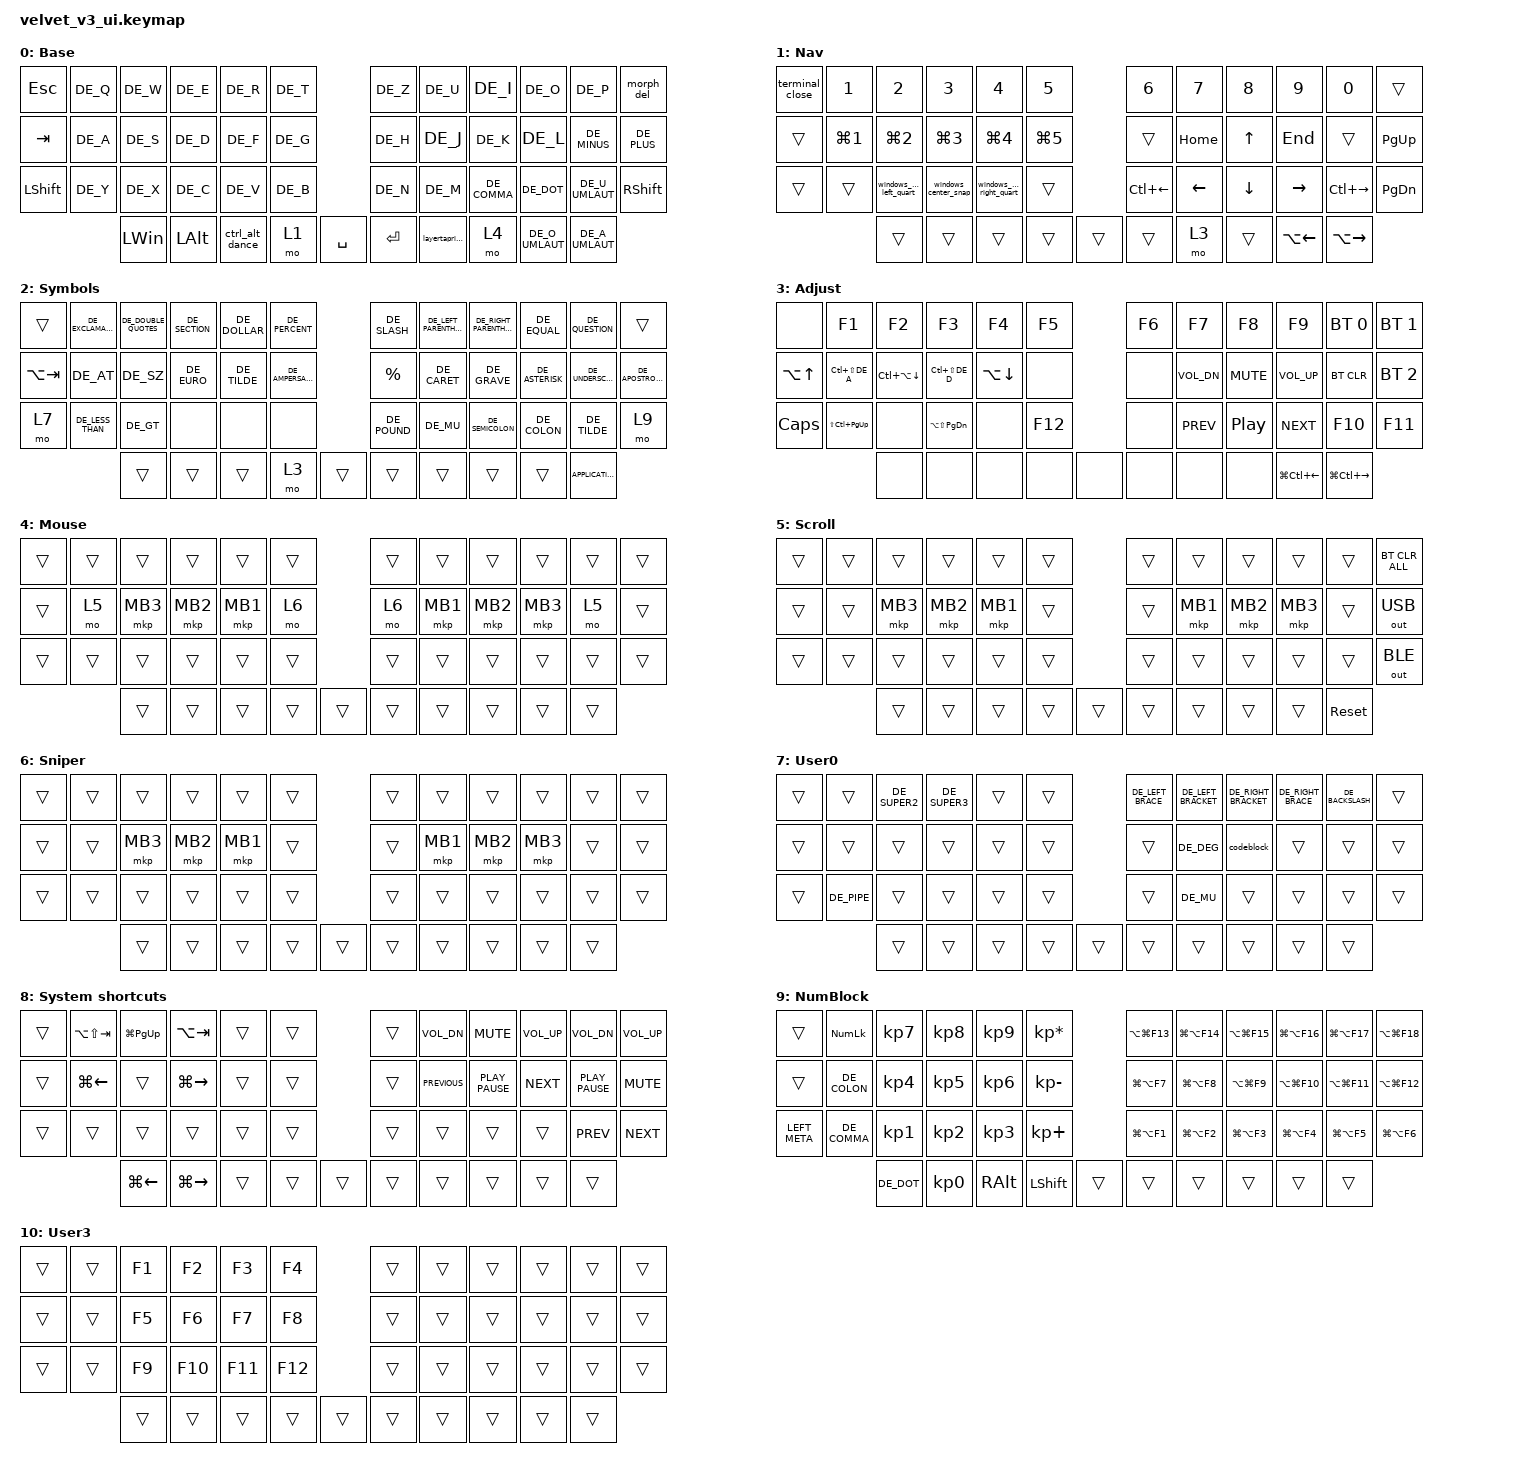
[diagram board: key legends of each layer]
#include <dt-bindings/zmk/input_transform.h>
#include <input/processors.dtsi>
#include <zephyr/dt-bindings/input/input-event-codes.h>
#include <behaviors.dtsi>
#include <dt-bindings/zmk/bt.h>
#include <dt-bindings/zmk/keys.h>
#include <dt-bindings/zmk/outputs.h>
#include <dt-bindings/zmk/pointing.h>
#include "keys_de.h"

/ {
    behaviors {
        cap_sen: cap_sen {
            compatible = "zmk,behavior-hold-tap";
            label = "CAP_SEN";
            bindings = <&mo>, <&mkp>;

            #binding-cells = <2>;
            tapping-term-ms = <150>;
            hold-while-undecided;
        };

        mouse_layer: mouse_layer {
            compatible = "zmk,behavior-sticky-key";
            label = "MOUSE_LAYER";
            bindings = <&mo>;
            #binding-cells = <1>;
            release-after-ms = <200>;
        };

        zip_auto_mouse: zip_auto_mouse {
            compatible = "zmk,input-processor-temp-layer";
            #input-processor-cells = <2>;
            require-prior-idle-ms = <800>;
            excluded-positions = <>;
        };

        layertapright: layertapright {
            compatible = "zmk,behavior-tap-dance";
            label = "LAYERTAPRIGHT";
            #binding-cells = <0>;
            bindings = <&mo 2>, <&mo 8>, <&mo 10>;
        };

        codeblock_dance: codeblock_dance {
            compatible = "zmk,behavior-tap-dance";
            label = "CODEBLOCK_DANCE";
            #binding-cells = <0>;
            bindings = <&kp DE_GRAVE>, <&codeblock_dance>;
        };

        hold_alt: hold_alt {
            compatible = "zmk,behavior-hold-tap";
            label = "HOLD_ALT";
            bindings = <&kp>, <&kp>;

            #binding-cells = <2>;
            tapping-term-ms = <200>;
            flavor = "tap-preferred";
        };

        morph_del: morph_del {
            compatible = "zmk,behavior-mod-morph";
            label = "MORPH_DEL";
            bindings = <&kp BACKSPACE>, <&kp DELETE>;

            #binding-cells = <0>;
            mods = <(MOD_LSFT)>;
        };

        ctrl_alt_dance: ctrl_alt_dance {
            compatible = "zmk,behavior-tap-dance";
            label = "CTRL_ALT_DANCE";
            #binding-cells = <0>;
            bindings = <&kp LEFT_CONTROL>, <&kp LEFT_ALT>;
        };

        terminal_close: terminal_close {
            compatible = "zmk,behavior-mod-morph";
            label = "TERMINAL_CLOSE";
            bindings = <&kp LG(LA(ENTER))>, <&kp LA(F4)>;

            #binding-cells = <0>;
            mods = <(MOD_LSFT)>;
        };
    };

    macros {
        DesktopRight: DesktopRight {
            compatible = "zmk,behavior-macro";
            #binding-cells = <0>;
            bindings =
                <&macro_press>,
                <&kp LWIN &kp LCTRL &kp RIGHT_ARROW>,
                <&macro_release>,
                <&kp LWIN &kp LCTRL &kp RIGHT_ARROW>;

            label = "DESKTOPRIGHT";
        };

        DesktopLeft: DesktopLeft {
            compatible = "zmk,behavior-macro";
            #binding-cells = <0>;
            bindings =
                <&macro_press>,
                <&kp LWIN &kp LCTRL &kp LEFT_ARROW>,
                <&macro_release>,
                <&kp LWIN &kp LCTRL &kp LEFT_ARROW>;

            label = "DESKTOPLEFT";
        };

        codeblock: codeblock {
            compatible = "zmk,behavior-macro";
            #binding-cells = <0>;
            bindings = <&kp DE_GRAVE &kp DE_GRAVE &kp DE_GRAVE &kp RET &kp ENTER &kp RET &kp DE_GRAVE &kp DE_GRAVE &kp DE_GRAVE &kp DE_SPACE &kp UP_ARROW>;
            label = "CODEBLOCK";
            wait-ms = <5>;
            tap-ms = <5>;
        };

        windows_center_snap: windows_center_snap {
            compatible = "zmk,behavior-macro";
            #binding-cells = <0>;
            bindings = <&kp LG(DE_Z) &kp DE_N9 &kp DE_N2>;
            label = "WINDOWS_CENTER_SNAP";
            wait-ms = <100>;
        };

        windows_snap_left_quart: windows_snap_left_quart {
            compatible = "zmk,behavior-macro";
            #binding-cells = <0>;
            bindings = <&kp LG(DE_Z) &kp DE_N9 &kp DE_N1>;
            label = "WINDOWS_SNAP_LEFT_QUART";
            wait-ms = <100>;
        };

        windows_snap_right_quart: windows_snap_right_quart {
            compatible = "zmk,behavior-macro";
            #binding-cells = <0>;
            bindings = <&kp LG(DE_Z) &kp DE_N9 &kp DE_N3>;
            label = "WINDOWS_SNAP_RIGHT_QUART";
            wait-ms = <100>;
        };
    };

    keymap {
        compatible = "zmk,keymap";

        base {
            bindings = <
&kp ESC    &kp DE_Q  &kp DE_W      &kp DE_E      &kp DE_R         &kp DE_T                        &kp DE_Z        &kp DE_U  &kp DE_I         &kp DE_O         &kp DE_P         &morph_del
&kp TAB    &kp DE_A  &kp DE_S      &kp DE_D      &kp DE_F         &kp DE_G                        &kp DE_H        &kp DE_J  &kp DE_K         &kp DE_L         &kp DE_MINUS     &kp DE_PLUS
&kp LSHFT  &kp DE_Y  &kp DE_X      &kp DE_C      &kp DE_V         &kp DE_B                        &kp DE_N        &kp DE_M  &kp DE_COMMA     &kp DE_DOT       &kp DE_U_UMLAUT  &kp RSHFT
                     &kp LEFT_WIN  &kp LEFT_ALT  &ctrl_alt_dance  &mo 1     &kp SPACE    &kp RET  &layertapright  &mo 4     &kp DE_O_UMLAUT  &kp DE_A_UMLAUT
            >;

            display-name = "Base";
        };

        nav {
            bindings = <
&terminal_close  &kp N1      &kp N2                    &kp N3                &kp N4                     &kp N5                        &kp N6              &kp N7          &kp N8              &kp N9           &kp N0         &trans
&trans           &kp LG(N1)  &kp LG(N2)                &kp LG(N3)            &kp LG(N4)                 &kp LG(N5)                    &trans              &kp HOME        &kp UP              &kp END          &trans         &kp PAGE_UP
&trans           &trans      &windows_snap_left_quart  &windows_center_snap  &windows_snap_right_quart  &trans                        &kp LC(LEFT_ARROW)  &kp LEFT_ARROW  &kp DOWN            &kp RIGHT_ARROW  &kp LC(RIGHT)  &kp PAGE_DOWN
                             &trans                    &trans                &trans                     &trans      &trans    &trans  &mo 3               &trans          &kp LA(LEFT_ARROW)  &kp LA(RIGHT)
            >;

            display-name = "Nav";
        };

        sym {
            bindings = <
&trans       &kp DE_EXCLAMATION  &kp DE_DOUBLE_QUOTES  &kp DE_SECTION  &kp DE_DOLLAR  &kp DE_PERCENT                      &kp DE_SLASH  &kp DE_LEFT_PARENTHESIS  &kp DE_RIGHT_PARENTHESIS  &kp DE_EQUAL       &kp DE_QUESTION    &trans
&kp LA(TAB)  &kp DE_AT           &kp DE_SZ             &kp DE_EURO     &kp DE_TILDE   &kp DE_AMPERSAND                    &kp PRCNT     &kp DE_CARET             &kp DE_GRAVE              &kp DE_ASTERISK    &kp DE_UNDERSCORE  &kp DE_APOSTROPHE
&mo 7        &kp DE_LESS_THAN    &kp DE_GT             &none           &none          &none                               &kp DE_POUND  &kp DE_MU                &kp DE_SEMICOLON          &kp DE_COLON       &kp DE_TILDE       &mo 9
                                 &trans                &trans          &trans         &mo 3             &trans    &trans  &trans        &trans                   &trans                    &kp K_APPLICATION
            >;

            display-name = "Symbols";
        };

        adj {
            bindings = <
&none             &kp F1               &kp F2                  &kp F3                 &kp F4              &kp F5                   &kp F6  &kp F7        &kp F8            &kp F9             &bt BT_SEL 0  &bt BT_SEL 1
&kp LA(UP_ARROW)  &kp LC(LS(DE_A))     &kp LC(LA(DOWN_ARROW))  &kp LC(LS(DE_D))       &kp LA(DOWN_ARROW)  &none                    &none   &kp C_VOL_DN  &kp C_MUTE        &kp C_VOL_UP       &bt BT_CLR    &bt BT_SEL 2
&kp CAPS          &kp LS(LC(PAGE_UP))  &none                   &kp LA(LS(PAGE_DOWN))  &none               &kp F12                  &none   &kp C_PREV    &kp C_PLAY_PAUSE  &kp C_NEXT         &kp F10       &kp F11
                                       &none                   &none                  &none               &none    &none    &none  &none   &none         &kp LG(LC(LEFT))  &kp LG(LC(RIGHT))
            >;

            display-name = "Adjust";
        };

        mouse {
            bindings = <
&trans  &trans  &trans    &trans    &trans    &trans                    &trans  &trans    &trans    &trans    &trans  &trans
&trans  &mo 5   &mkp MB3  &mkp MB2  &mkp MB1  &mo 6                     &mo 6   &mkp MB1  &mkp MB2  &mkp MB3  &mo 5   &trans
&trans  &trans  &trans    &trans    &trans    &trans                    &trans  &trans    &trans    &trans    &trans  &trans
                &trans    &trans    &trans    &trans  &trans    &trans  &trans  &trans    &trans    &trans
            >;

            display-name = "Mouse";
        };

        scroll {
            bindings = <
&trans  &trans  &trans    &trans    &trans    &trans                    &trans  &trans    &trans    &trans      &trans  &bt BT_CLR_ALL
&trans  &trans  &mkp MB3  &mkp MB2  &mkp MB1  &trans                    &trans  &mkp MB1  &mkp MB2  &mkp MB3    &trans  &out OUT_USB
&trans  &trans  &trans    &trans    &trans    &trans                    &trans  &trans    &trans    &trans      &trans  &out OUT_BLE
                &trans    &trans    &trans    &trans  &trans    &trans  &trans  &trans    &trans    &sys_reset
            >;

            display-name = "Scroll";
        };

        sniper {
            bindings = <
&trans  &trans  &trans    &trans    &trans    &trans                    &trans  &trans    &trans    &trans    &trans  &trans
&trans  &trans  &mkp MB3  &mkp MB2  &mkp MB1  &trans                    &trans  &mkp MB1  &mkp MB2  &mkp MB3  &trans  &trans
&trans  &trans  &trans    &trans    &trans    &trans                    &trans  &trans    &trans    &trans    &trans  &trans
                &trans    &trans    &trans    &trans  &trans    &trans  &trans  &trans    &trans    &trans
            >;

            display-name = "Sniper";
        };

        User0 {
            bindings = <
&trans  &trans       &kp DE_SUPER2  &kp DE_SUPER3  &trans  &trans                    &kp DE_LEFT_BRACE  &kp DE_LEFT_BRACKET  &kp DE_RIGHT_BRACKET  &kp DE_RIGHT_BRACE  &kp DE_BACKSLASH  &trans
&trans  &trans       &trans         &trans         &trans  &trans                    &trans             &kp DE_DEG           &codeblock            &trans              &trans            &trans
&trans  &kp DE_PIPE  &trans         &trans         &trans  &trans                    &trans             &kp DE_MU            &trans                &trans              &trans            &trans
                     &trans         &trans         &trans  &trans  &trans    &trans  &trans             &trans               &trans                &trans
            >;

            display-name = "User0";
        };

        sys {
            bindings = <
&trans  &kp LA(LS(TAB))     &kp LG(PAGE_UP)  &kp LA(TAB)          &trans  &trans                    &trans  &kp C_VOL_DN    &kp K_MUTE        &kp C_VOL_UP  &kp C_VOL_DN      &kp C_VOL_UP
&trans  &kp LG(LEFT_ARROW)  &trans           &kp LG(RIGHT_ARROW)  &trans  &trans                    &trans  &kp K_PREVIOUS  &kp K_PLAY_PAUSE  &kp K_NEXT    &kp K_PLAY_PAUSE  &kp K_MUTE
&trans  &trans              &trans           &trans               &trans  &trans                    &trans  &trans          &trans            &trans        &kp K_PREV        &kp K_NEXT
                            &kp LG(LEFT)     &kp LG(RIGHT)        &trans  &trans  &trans    &trans  &trans  &trans          &trans            &trans
            >;

            display-name = "System shortcuts";
        };

        num {
            bindings = <
&trans         &kp KP_NUMLOCK  &kp KP_NUMBER_7  &kp KP_NUMBER_8  &kp KP_NUMBER_9  &kp KP_ASTERISK                    &kp LA(LG(F13))  &kp LG(LA(F14))  &kp LA(LG(F15))  &kp LG(LA(F16))  &kp LG(LA(F17))  &kp LA(LG(F18))
&trans         &kp DE_COLON    &kp KP_NUMBER_4  &kp KP_NUMBER_5  &kp KP_NUMBER_6  &kp KP_MINUS                       &kp LG(LA(F7))   &kp LG(LA(F8))   &kp LA(LG(F9))   &kp LA(LG(F10))  &kp LA(LG(F11))  &kp LA(LG(F12))
&kp LEFT_META  &kp DE_COMMA    &kp KP_NUMBER_1  &kp KP_NUMBER_2  &kp KP_NUMBER_3  &kp KP_PLUS                        &kp LG(LA(F1))   &kp LG(LA(F2))   &kp LG(LA(F3))   &kp LG(LA(F4))   &kp LG(LA(F5))   &kp LG(LA(F6))
                               &kp DE_DOT       &kp KP_NUMBER_0  &kp RIGHT_ALT    &kp LEFT_SHIFT   &trans    &trans  &trans           &trans           &trans           &trans
            >;

            display-name = "NumBlock";
        };

        User3 {
            bindings = <
&trans  &trans  &kp F1  &kp F2   &kp F3   &kp F4                     &trans  &trans  &trans  &trans  &trans  &trans
&trans  &trans  &kp F5  &kp F6   &kp F7   &kp F8                     &trans  &trans  &trans  &trans  &trans  &trans
&trans  &trans  &kp F9  &kp F10  &kp F11  &kp F12                    &trans  &trans  &trans  &trans  &trans  &trans
                &trans  &trans   &trans   &trans   &trans    &trans  &trans  &trans  &trans  &trans
            >;

            display-name = "User3";
        };
    };
};

&trackball { cpi = <1000>; };

&trackball_listener {
    input-processors = <&zip_auto_mouse 4 500>, <&zip_xy_scaler 9 20>;

    scroller {
        layers = <5>;
        input-processors =
            <&zip_xy_transform INPUT_TRANSFORM_Y_INVERT>,
            <&zip_xy_scaler 1 32>,
            <&zip_xy_to_scroll_mapper>;
    };

    sniper {
        layers = <6>;
        input-processors = <&zip_xy_scaler 1 4>;
    };
};
